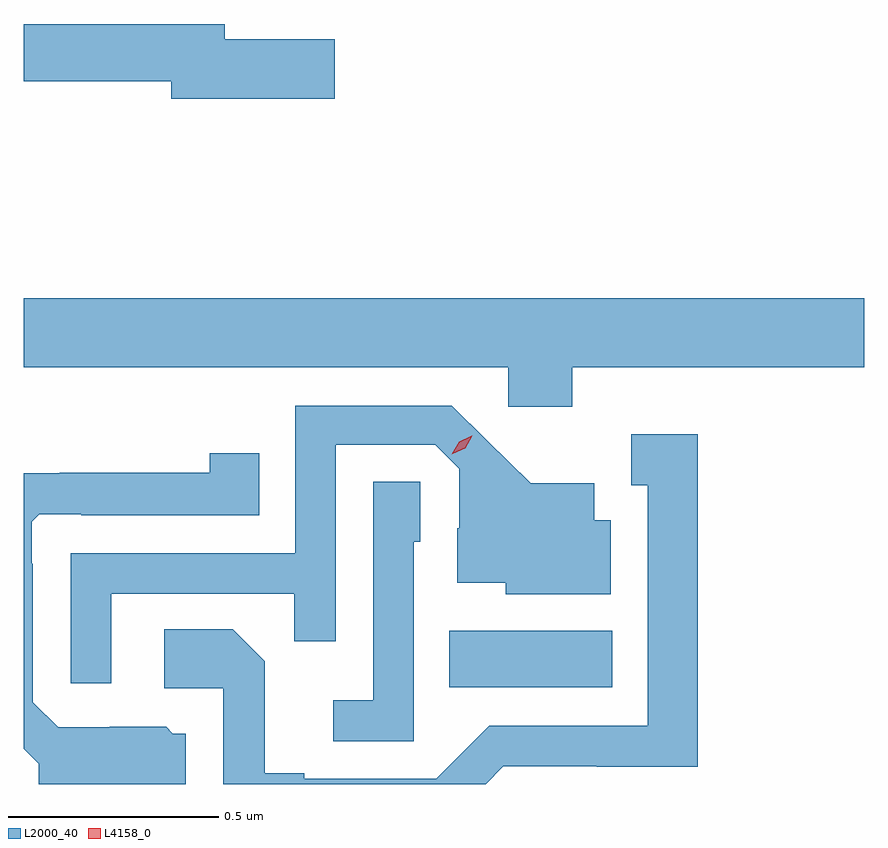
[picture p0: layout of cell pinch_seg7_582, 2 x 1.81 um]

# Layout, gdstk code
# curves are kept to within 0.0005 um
import gdstk
lib = gdstk.Library(unit=1e-6, precision=1e-09)
def R(c, l, rs):  # rectangles x0, y0, x1, y1
    for r in rs: c.add(gdstk.rectangle(r[:2], r[2:], *l))
def P(c, l, *ps):  # polygons
    for p in ps: c.add(gdstk.Polygon(p, *l))
L2000_40 = (2000, 40)
L4158_0 = (4158, 0)

pinch_seg7_582 = lib.new_cell('pinch_seg7_582')
R(pinch_seg7_582, L2000_40, [(130.93,1051.802,131.317,1051.936)])
P(pinch_seg7_582, L2000_40, [(130.657,1053.344),(130.396,1053.344),(130.396,1053.38),(129.917,1053.38),(129.917,1053.244),(130.268,1053.244),(130.268,1053.202),(130.657,1053.202)],
  [(131.222,1052.564),(131.917,1052.564),(131.917,1052.728),(129.917,1052.728),(129.917,1052.564),(131.07,1052.564),(131.07,1052.469),(131.222,1052.469)],
  [(130.125,1052.025),(130.561,1052.025),(130.561,1051.912),(130.659,1051.912),(130.659,1052.379),(130.896,1052.379),(130.953,1052.322),(130.953,1052.18),(130.949,1052.18),(130.949,1052.051),(131.064,1052.051),(131.064,1052.024),(131.314,1052.024),(131.314,1052.2),(131.275,1052.2),(131.275,1052.287),(131.123,1052.287),(130.936,1052.472),(130.563,1052.472),(130.563,1052.121),(130.029,1052.121),(130.029,1051.812),(130.125,1051.812)],
  [(131.058,1051.614),(131.28,1051.614),(131.28,1051.613),(131.521,1051.613),(131.521,1052.404),(131.363,1052.404),(131.363,1052.283),(131.402,1052.283),(131.402,1051.71),(131.025,1051.71),(130.899,1051.584),(130.585,1051.584),(130.585,1051.597),(130.491,1051.597),(130.491,1051.864),(130.415,1051.94),(130.251,1051.94),(130.251,1051.8),(130.392,1051.8),(130.392,1051.572),(131.016,1051.572)],
  [(130.303,1051.692),(130.272,1051.692),(130.256,1051.708),(130.122,1051.708),(130.122,1051.707),(129.999,1051.707),(129.939,1051.767),(129.939,1052.096),(129.936,1052.096),(129.936,1052.196),(129.954,1052.214),(130.054,1052.214),(130.054,1052.211),(130.478,1052.211),(130.478,1052.359),(130.36,1052.359),(130.36,1052.312),(130.003,1052.312),(130.003,1052.311),(129.917,1052.311),(129.917,1051.656),(129.953,1051.62),(129.953,1051.572),(130.303,1051.572)],
  [(130.845,1052.148),(130.86,1052.148),(130.86,1052.291),(130.749,1052.291),(130.749,1051.771),(130.653,1051.771),(130.653,1051.674),(130.845,1051.674)])
P(pinch_seg7_582, L4158_0, [(130.936,1052.356),(130.936,1052.356),(130.953,1052.386),(130.983,1052.401),(130.984,1052.401),(130.984,1052.401),(130.967,1052.371),(130.936,1052.356)])

lib.write_gds('pinch_seg7_582.gds')
